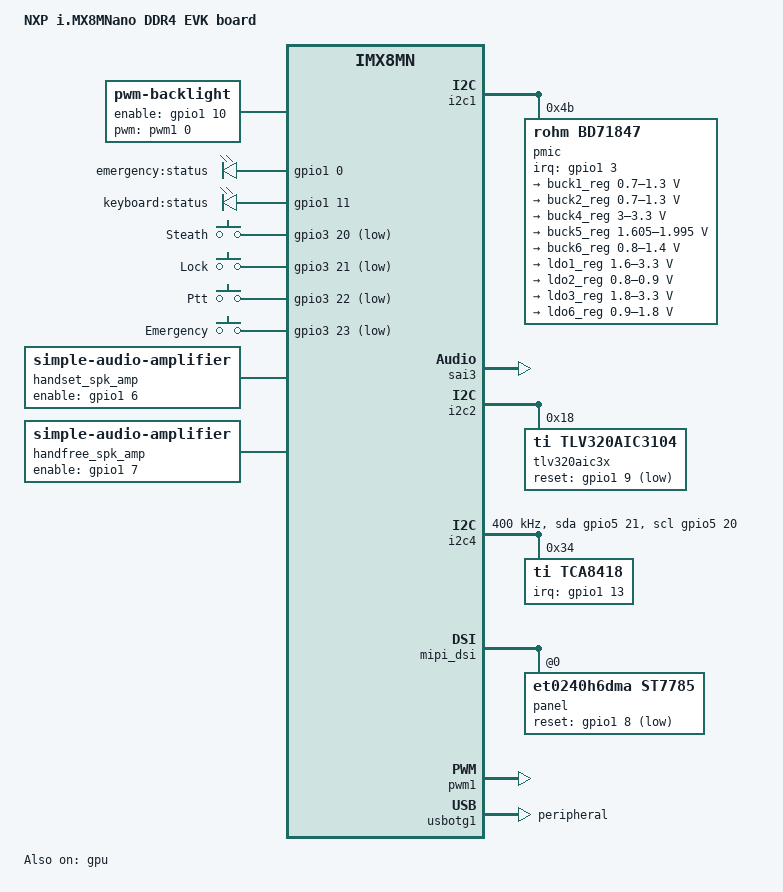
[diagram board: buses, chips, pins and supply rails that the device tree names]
// SPDX-License-Identifier: (GPL-2.0+ OR MIT)
/*
 * Copyright 2019 NXP
 */

/dts-v1/;

#include "imx8mn.dtsi"
#include "imx8mn-voip.dtsi"

/ {
	model = "NXP i.MX8MNano DDR4 EVK board";
	compatible = "fsl,imx8mn-ddr4-evk", "fsl,imx8mn";
};

&A53_0 {
	cpu-supply = <&buck2_reg>;
};

&A53_1 {
	cpu-supply = <&buck2_reg>;
};

&A53_2 {
	cpu-supply = <&buck2_reg>;
};

&A53_3 {
	cpu-supply = <&buck2_reg>;
};

&ddrc {
	operating-points-v2 = <&ddrc_opp_table>;

	ddrc_opp_table: opp-table {
		compatible = "operating-points-v2";

		opp-25M {
			opp-hz = /bits/ 64 <25000000>;
		};

		opp-100M {
			opp-hz = /bits/ 64 <100000000>;
		};

		opp-600M {
			opp-hz = /bits/ 64 <600000000>;
		};
	};
};

&i2c1 {
	pmic@4b {
		compatible = "rohm,bd71847";
		reg = <0x4b>;
		pinctrl-names = "default";
		pinctrl-0 = <&pinctrl_pmic>;
		interrupt-parent = <&gpio1>;
		interrupts = <3 IRQ_TYPE_LEVEL_LOW>;
		rohm,reset-snvs-powered;

		regulators {
			buck1_reg: BUCK1 {
				regulator-name = "buck1";
				regulator-min-microvolt = <700000>;
				regulator-max-microvolt = <1300000>;
				regulator-boot-on;
				regulator-always-on;
				regulator-ramp-delay = <1250>;
				rohm,dvs-run-voltage = <850000>;
				rohm,dvs-suspend-voltage = <750000>;
			};

			buck2_reg: BUCK2 {
				regulator-name = "buck2";
				regulator-min-microvolt = <700000>;
				regulator-max-microvolt = <1300000>;
				regulator-boot-on;
				regulator-always-on;
				regulator-ramp-delay = <1250>;
				rohm,dvs-run-voltage = <1000000>;
				rohm,dvs-idle-voltage = <900000>;
				rohm,dvs-suspend-voltage = <0>;
			};

			buck4_reg: BUCK4 {
				// BUCK6 in datasheet
				regulator-name = "buck4";
				regulator-min-microvolt = <3000000>;
				regulator-max-microvolt = <3300000>;
				regulator-boot-on;
				regulator-always-on;
			};

			buck5_reg: BUCK5 {
				// BUCK7 in datasheet
				regulator-name = "buck5";
				regulator-min-microvolt = <1605000>;
				regulator-max-microvolt = <1995000>;
				regulator-boot-on;
				regulator-always-on;
			};

			buck6_reg: BUCK6 {
				// BUCK8 in datasheet
				regulator-name = "buck6";
				regulator-min-microvolt = <800000>;
				regulator-max-microvolt = <1400000>;
				regulator-boot-on;
				regulator-always-on;
			};

			ldo1_reg: LDO1 {
				regulator-name = "ldo1";
				regulator-min-microvolt = <1600000>;
				regulator-max-microvolt = <3300000>;
				regulator-boot-on;
				regulator-always-on;
			};

			ldo2_reg: LDO2 {
				regulator-name = "ldo2";
				regulator-min-microvolt = <800000>;
				regulator-max-microvolt = <900000>;
				regulator-boot-on;
				regulator-always-on;
			};

			ldo3_reg: LDO3 {
				regulator-name = "ldo3";
				regulator-min-microvolt = <1800000>;
				regulator-max-microvolt = <3300000>;
				regulator-boot-on;
				regulator-always-on;
			};

			ldo6_reg: LDO6 {
				regulator-name = "ldo6";
				regulator-min-microvolt = <900000>;
				regulator-max-microvolt = <1800000>;
				regulator-boot-on;
				regulator-always-on;
			};
		};
	};
};

&gpu {
	assigned-clocks = <&clk IMX8MN_CLK_GPU_CORE_SRC>,
			<&clk IMX8MN_CLK_GPU_SHADER_SRC>,
			<&clk IMX8MN_CLK_GPU_AXI>,
			<&clk IMX8MN_CLK_GPU_AHB>,
			<&clk IMX8MN_GPU_PLL>,
			<&clk IMX8MN_CLK_GPU_CORE_DIV>,
			<&clk IMX8MN_CLK_GPU_SHADER_DIV>;
	assigned-clock-parents = <&clk IMX8MN_GPU_PLL_OUT>,
			<&clk IMX8MN_GPU_PLL_OUT>,
			<&clk IMX8MN_SYS_PLL1_800M>,
			<&clk IMX8MN_SYS_PLL1_800M>;
	assigned-clock-rates = <0>, <0>, <800000000>, <400000000>, <1200000000>,
			<400000000>, <400000000>;
	status= "okay";
};


/ {
	/delete-node/ audio-codec;
	/delete-node/ ir-receiver;
	/delete-node/ sound-wm8524;
	/delete-node/ sound-micfil;
	/delete-node/ sound-ak5558;
	/delete-node/ sound-ak5558;

	backlight: backlight {
		compatible = "pwm-backlight";
		pinctrl-names = "default";
		pinctrl-0 = <&pinctrl_bl_enable>;
		pwms = <&pwm1 0 700000 0>;	/* 700000 ns = 1337Hz */
		brightness-levels = <0 100>;
		num-interpolated-steps = <100>;
		default-brightness-level = <50>;
		enable-gpios = <&gpio1 10 0>;
		status = "okay";
	};

	gpio-leds {
		compatible = "gpio-leds";
		pinctrl-names = "default";
		pinctrl-0 = <&pinctrl_gpio_uti_led>;
		status = "okay";

		emergency_led {
			label = "emergency:status";
			gpios = <&gpio1 0 GPIO_ACTIVE_HIGH>;
			default-state = "on";
		};

		keyboard_led {
			label = "keyboard:status";
			gpios = <&gpio1 11 GPIO_ACTIVE_HIGH>;
			default-state = "on";
		};

	};

	gpio-keys {

		compatible = "gpio-keys";
		pinctrl-names = "default";
		pinctrl-0 = <&pinctrl_gpio_keypad>;
		status = "okay";

		stealth {
			label = "Steath";
			gpios = <&gpio3 20 GPIO_ACTIVE_LOW>;
			linux,code = <KEY_SLEEP>;
		};

		lock {
			label = "Lock";
			gpios = <&gpio3 21 GPIO_ACTIVE_LOW>;
			linux,code = <KEY_MENU>;
		};

		ptt {
			label = "Ptt";
			gpios = <&gpio3 22 GPIO_ACTIVE_LOW>;
			linux,code = <KEY_F3>;
		};

		emergency {
			label = "Emergency";
			gpios = <&gpio3 23 GPIO_ACTIVE_LOW>;
			linux,code = <KEY_F4>;
		};


	};

	handset_spk_amp: analog-amplifier@0 {
		compatible = "simple-audio-amplifier";
		pinctrl-names = "default";
		pinctrl-0 = <&pinctrl_handset_spk_amp>;
		enable-gpios = <&gpio1 6 GPIO_ACTIVE_HIGH>;

		sound-name-prefix = "Handset Speaker Amp";
	};

	handfree_spk_amp: analog-amplifier@1 {
		compatible = "simple-audio-amplifier";
		pinctrl-names = "default";
		pinctrl-0 = <&pinctrl_handfree_spk_amp>;
		enable-gpios = <&gpio1 7 GPIO_ACTIVE_HIGH>;

		sound-name-prefix = "Handfree Speaker Amp";
	};

	sound_tlv320aic3104: sound-tlv320aic3104 {
		compatible = "simple-audio-card";
		simple-audio-card,name = "tlv320aic3104-audio";
		simple-audio-card,format = "i2s";
		simple-audio-card,frame-master = <&codecdai>;
		simple-audio-card,bitclock-master = <&codecdai>;
		simple-audio-card,aux-devs = <&handset_spk_amp>, <&handfree_spk_amp>;
		simple-audio-card,widgets =
			"Line", "Line IN",
			"Speaker", "Handfree Speaker",
			"Speaker", "Handset Speaker";
		simple-audio-card,routing =
			"LINE1L", "Line IN",
			"LINE1R", "Line IN",
			"Handfree Speaker Amp INL", "LLOUT",
			"Handset Speaker Amp INR", "RLOUT",
			"Handfree Speaker", "Handfree Speaker Amp OUTL",
			"Handset Speaker", "Handset Speaker Amp OUTR";

		cpudai: simple-audio-card,cpu {
			sound-dai = <&sai3>;
	/*		dai-tdm-slot-num = <2>;
			dai-tdm-slot-width = <32>;*/
		};

		codecdai: simple-audio-card,codec {
			sound-dai = <&tlv320aic3x>;
			clocks = <&clk IMX8MN_CLK_SAI3_ROOT>;
		};
	};
};

&sai3 {
	#sound-dai-cells = <0>;
	pinctrl-names = "default";
	pinctrl-0 = <&pinctrl_sai3>;
	assigned-clocks = <&clk IMX8MN_CLK_SAI3>;
	assigned-clock-parents = <&clk IMX8MN_AUDIO_PLL1_OUT>;
	assigned-clock-rates = <24576000>;
	status = "okay";
};

&adv_bridge {
	status = "disabled";
};

&usdhc1 {
	status = "disabled";
};

&i2c2 {
	/delete-node/ tcpc@50;

	tlv320aic3x: tlv320aic3x@18 {
		#sound-dai-cells = <0>;
		compatible = "ti,tlv320aic3104";
		pinctrl-names = "default";
		pinctrl-0 = <&pinctrl_audio_reset>;
		reg = <0x18>;
		status = "okay";
		ai3x-micbias-vg = <0x3>;
		reset-gpios = <&gpio1 9 GPIO_ACTIVE_LOW>;
	};

};

&i2c3 {
	/delete-node/ ak5558@13;
	/delete-node/ ak4497@11;
	/delete-node/ ov5640_mipi@3c;
};

&i2c4 {
	clock-frequency = <400000>;
	pinctrl-names = "default", "gpio";
	pinctrl-0 = <&pinctrl_i2c4>;
	pinctrl-1 = <&pinctrl_i2c4_gpio>;
	scl-gpios = <&gpio5 20 GPIO_ACTIVE_HIGH>;
	sda-gpios = <&gpio5 21 GPIO_ACTIVE_HIGH>;
	status = "ok";
	
	tca8418: keypad@34 {
		compatible = "ti,tca8418";
		reg = <0x34>;
		pinctrl-names = "default";
		pinctrl-0 = <&pinctrl_gpio_tca8418>;
		interrupt-parent = <&gpio1>;
		interrupts = <13 IRQ_TYPE_EDGE_FALLING>;
		linux,keymap = <
			/* row, column, key */
			MATRIX_KEY(0x03, 0x00, KEY_UP)   /* DPAD Up */
			MATRIX_KEY(0x00, 0x01, KEY_DOWN) /* DPAD Down */
			MATRIX_KEY(0x01, 0x00, KEY_LEFT) /* DPAD Left */
			MATRIX_KEY(0x02, 0x01, KEY_RIGHT)/* DPAD Right */
			MATRIX_KEY(0x01, 0x01, KEY_SELECT)/* DPAD Center */
			MATRIX_KEY(0x03, 0x02, KEY_1)
			MATRIX_KEY(0x02, 0x02, KEY_2)
			MATRIX_KEY(0x03, 0x04, KEY_3)
			MATRIX_KEY(0x01, 0x02, KEY_4)
			MATRIX_KEY(0x00, 0x02, KEY_5)
			MATRIX_KEY(0x02, 0x04, KEY_6)
			MATRIX_KEY(0x03, 0x03, KEY_7)
			MATRIX_KEY(0x02, 0x03, KEY_8)
			MATRIX_KEY(0x01, 0x04, KEY_9)
			MATRIX_KEY(0x01, 0x03, KEY_NUMERIC_STAR)
			MATRIX_KEY(0x00, 0x03, KEY_0)
			MATRIX_KEY(0x00, 0x04, KEY_NUMERIC_POUND)
			MATRIX_KEY(0x02, 0x00, BTN_1) /* Left Soft Button */
			MATRIX_KEY(0x03, 0x01, BTN_3) /* Right Soft Button */
			MATRIX_KEY(0x00, 0x00, KEY_PHONE) /* Off-hook */
		>;
		keypad,num-rows = <4>;
		keypad,num-columns = <5>;
	};
};

&mipi_dsi {
	panel@0 {
		compatible = "et0240h6dma,st7785";
		reg = <0>;
		pinctrl-0 = <&pinctrl_mipi_dsi_en>;
		reset-gpio = <&gpio1 8 GPIO_ACTIVE_LOW>;
		dsi-lanes = <1>;
		video-mode = <2>; /* 0: burst mode
					       * 1: non-burst mode with sync event
					       * 2: non-burst mode with sync pulse
					       * 3: command mode
					       */
		panel-width-mm = <68>;
		panel-height-mm = <121>;
		status = "okay";
	};
};


&pwm1 {
	status = "okay";
	pinctrl-names = "default";
	pinctrl-0 = <&pinctrl_bl>;
};

&iomuxc {

	/delete-node/ synaptics_dsx_iogrp;
	/delete-node/ gpioledgrp;
	/delete-node/ csi_rst_grp;
	/* This is for both PWM and voltage regulators for display */
	pinctrl_gpio_tca8418: gpiokeygrp1 {
		fsl,pins = <
			MX8MN_IOMUXC_GPIO1_IO12_GPIO1_IO12	0x16	
			MX8MN_IOMUXC_GPIO1_IO13_GPIO1_IO13	0x16	
			MX8MN_IOMUXC_GPIO1_IO14_GPIO1_IO14	0x16	
		>;
	};

	pinctrl_gpio_keypad: gpiokeygrp2 {
		fsl,pins = <
			MX8MN_IOMUXC_SAI5_RXC_GPIO3_IO20	0x16
			MX8MN_IOMUXC_SAI5_RXD0_GPIO3_IO21	0x16
			MX8MN_IOMUXC_SAI5_RXD1_GPIO3_IO22	0x16
			MX8MN_IOMUXC_SAI5_RXD2_GPIO3_IO23	0x16
		>;
	};

	pinctrl_bl: pwm1grp {
		fsl,pins = <
			MX8MN_IOMUXC_GPIO1_IO01_PWM1_OUT	0x16
		>;
	};

	pinctrl_bl_enable: blgrp {
		fsl,pins = <
			MX8MN_IOMUXC_GPIO1_IO10_GPIO1_IO10	0x16	
		>;
	};

	pinctrl_audio_reset: audio-reset {
		fsl,pins = <
			MX8MN_IOMUXC_GPIO1_IO09_GPIO1_IO9	0x19
		>;
	};

	pinctrl_gpio_uti_led: gpioutiledgrp {
		fsl,pins = <
			MX8MN_IOMUXC_GPIO1_IO11_GPIO1_IO11	0x16	
			MX8MN_IOMUXC_GPIO1_IO00_GPIO1_IO0	0x19
		>;
	};

	pinctrl_handset_spk_amp: audioamp1 {
		fsl,pins = <
			MX8MN_IOMUXC_GPIO1_IO06_GPIO1_IO6	0x19
		>;
	};

	pinctrl_handfree_spk_amp: audioamp2 {
		fsl,pins = <
			MX8MN_IOMUXC_GPIO1_IO07_GPIO1_IO7	0x19
		>;
	};

};

&mipi_csi_1 {
	/delete-node/ port@0;

};


&usbotg1 {

        dr_mode = "peripheral"; 
        srp-disable;
        hnp-disable;
        adp-disable;
        disable-over-current;

        /delete-property/ usb-role-switch;

        status = "okay";
};

&usdhc2 {
        status = "disabled";
};

&cpu_alert0 {
       temperature = <93000>;
};

&cpu_crit0 {
       temperature = <105000>;
};

